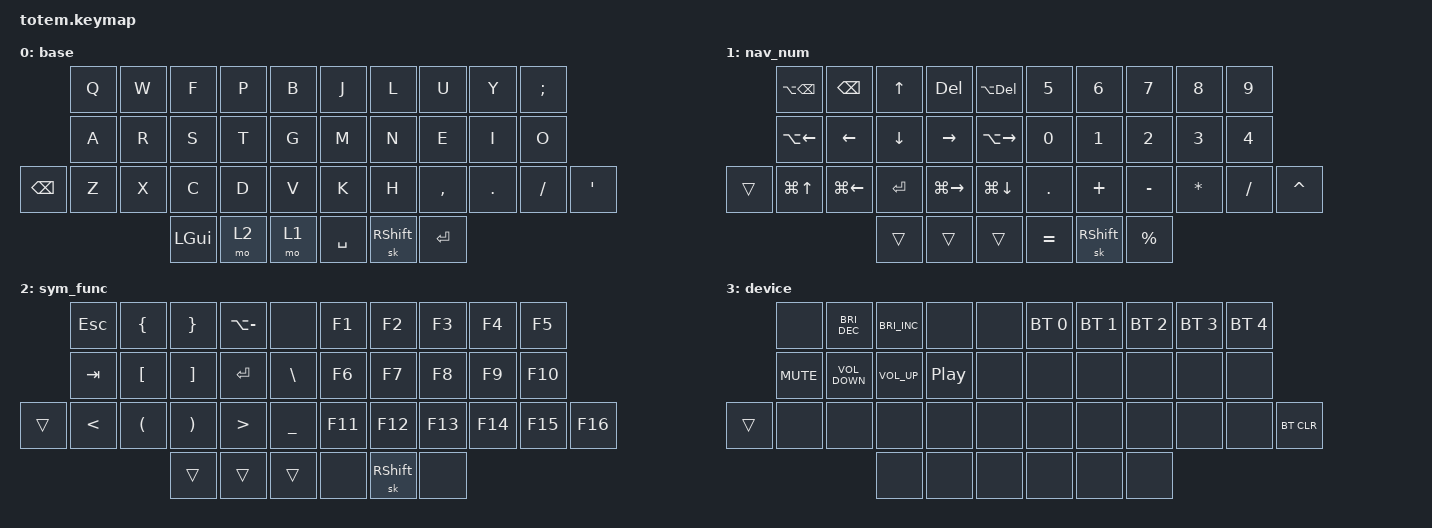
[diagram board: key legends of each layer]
//
//                                                        ▀▀▀▀▀     ▀▀▀▀▀          ▀▀█▀▀
//                                                        ▄▀▀▀▄  ▄  ▄▀▀▀▄  ▄  ▄▀▀▀▄  █  ▄▀▀▀▄
//                                                        █   █  █  █   █  █  █   █  █  █   █
//                                                         ▀▀▀   █   ▀▀▀   █   ▀▀▀   ▀   ▀▀▀
//                                                               █      ▄▄▄█▄▄▄    █   █  
//                                                               ▀      █  █  █     █▄█
//                                                             ▀▀▀▀▀    █  █  █      ▀
//                                                                      ▀  ▀  ▀
//
// ▄▄▄▄▄▄▄▄▄▄▄▄▄▄▄▄▄▄▄▄▄▄▄▄▄▄▄▄▄▄▄▄▄▄▄▄▄▄▄▄▄▄▄▄▄▄▄▄▄▄▄▄▄▄▄▄▄▄▄▄▄▄▄▄▄▄▄▄▄▄▄▄▄▄▄▄▄▄▄▄▄▄▄▄▄▄▄▄▄▄▄▄▄▄▄▄▄▄▄▄▄▄▄▄▄▄▄▄▄▄▄▄▄▄▄▄▄▄▄▄▄▄▄▄▄▄▄▄▄▄▄▄▄▄▄▄▄▄▄▄▄▄▄▄▄▄▄▄▄

#include <behaviors.dtsi>
#include <dt-bindings/zmk/bt.h>
#include <dt-bindings/zmk/keys.h>

/ {
    keymap {
        compatible = "zmk,keymap";

        base {
            bindings = <
               &kp Q  &kp W  &kp F     &kp P  &kp B    &kp J      &kp L            &kp U      &kp Y    &kp SEMICOLON
               &kp A  &kp R  &kp S     &kp T  &kp G    &kp M      &kp N            &kp E      &kp I    &kp O
&kp BACKSPACE  &kp Z  &kp X  &kp C     &kp D  &kp V    &kp K      &kp H            &kp COMMA  &kp DOT  &kp FSLH       &kp APOS
                             &kp LGUI  &mo 2  &mo 1    &kp SPACE  &sk RIGHT_SHIFT  &kp ENTER
            >;
        };

        nav_num {
            bindings = <
        &kp LA(BACKSPACE)   &kp BACKSPACE  &kp UP     &kp DELETE     &kp LA(DELETE)        &kp N5      &kp N6           &kp N7       &kp N8    &kp N9
        &kp LA(LEFT_ARROW)  &kp LEFT       &kp DOWN   &kp RIGHT      &kp LA(RIGHT)         &kp N0      &kp N1           &kp N2       &kp N3    &kp N4
&trans  &kp LG(UP_ARROW)    &kp LG(LEFT)   &kp ENTER  &kp LG(RIGHT)  &kp LG(DOWN_ARROW)    &kp PERIOD  &kp PLUS         &kp MINUS    &kp STAR  &kp FSLH  &kp CARET
                                           &trans     &trans         &trans                &kp EQUAL   &sk RIGHT_SHIFT  &kp PERCENT
            >;
        };

        sym_func {
            bindings = <
        &kp ESC        &kp LEFT_BRACE        &kp RIGHT_BRACE        &kp LA(MINUS)     &none             &kp F1   &kp F2           &kp F3   &kp F4   &kp F5
        &kp TAB        &kp LBKT              &kp RBKT               &kp ENTER         &kp BSLH          &kp F6   &kp F7           &kp F8   &kp F9   &kp F10
&trans  &kp LESS_THAN  &kp LEFT_PARENTHESIS  &kp RIGHT_PARENTHESIS  &kp GREATER_THAN  &kp UNDERSCORE    &kp F11  &kp F12          &kp F13  &kp F14  &kp F15  &kp F16
                                             &trans                 &trans            &trans            &none    &sk RIGHT_SHIFT  &none
            >;
        };

        device {
            bindings = <
        &none       &kp C_BRIGHTNESS_DEC  &kp C_BRIGHTNESS_INC  &none             &none    &bt BT_SEL 0  &bt BT_SEL 1  &bt BT_SEL 2  &bt BT_SEL 3  &bt BT_SEL 4
        &kp K_MUTE  &kp C_VOLUME_DOWN     &kp C_VOLUME_UP       &kp C_PLAY_PAUSE  &none    &none         &none         &none         &none         &none
&trans  &none       &none                 &none                 &none             &none    &none         &none         &none         &none         &none         &bt BT_CLR
                                          &none                 &none             &none    &none         &none         &none
            >;
        };

        extra1 { status = "reserved"; };

        extra2 { status = "reserved"; };

        extra3 { status = "reserved"; };
    };

    conditional_layers {
        compatible = "zmk,conditional-layers";

        device {
            if-layers = <1 2>;
            then-layer = <3>;
        };
    };
};
